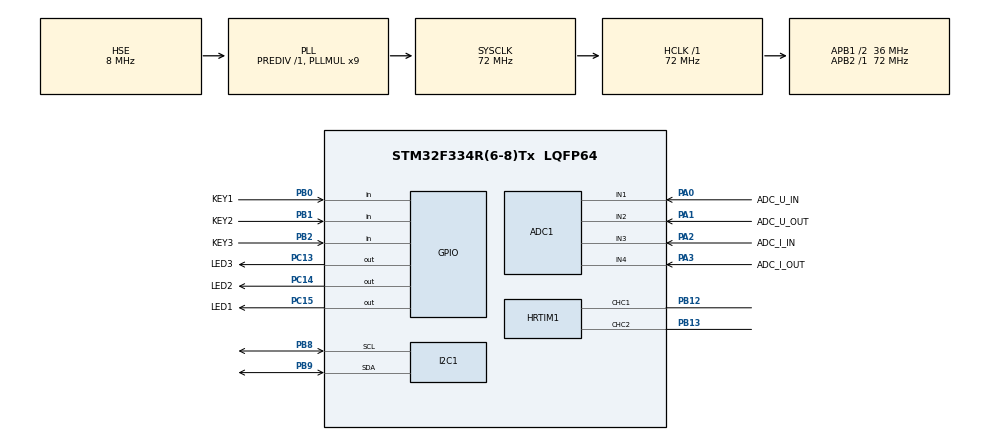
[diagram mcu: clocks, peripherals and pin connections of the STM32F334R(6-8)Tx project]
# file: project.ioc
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ADC1.Channel-3\#ChannelRegularConversion=ADC_CHANNEL_1
ADC1.Channel-4\#ChannelRegularConversion=ADC_CHANNEL_2
ADC1.Channel-5\#ChannelRegularConversion=ADC_CHANNEL_3
ADC1.Channel-6\#ChannelRegularConversion=ADC_CHANNEL_4
ADC1.ClockPrescaler=ADC_CLOCK_SYNC_PCLK_DIV4
ADC1.ContinuousConvMode=DISABLE
ADC1.DMAContinuousRequests=ENABLE
ADC1.DiscontinuousConvMode=DISABLE
ADC1.EOCSelection=ADC_EOC_SEQ_CONV
ADC1.ExternalTrigConv=ADC_EXTERNALTRIGCONVHRTIM_TRG1
ADC1.NbrOfConversion=4
ADC1.NbrOfConversionFlag=1
ADC1.Offset-3\#ChannelRegularConversion=0
ADC1.Offset-4\#ChannelRegularConversion=0
ADC1.Offset-5\#ChannelRegularConversion=0
ADC1.Offset-6\#ChannelRegularConversion=0
ADC1.OffsetNumber-3\#ChannelRegularConversion=ADC_OFFSET_NONE
ADC1.OffsetNumber-4\#ChannelRegularConversion=ADC_OFFSET_NONE
ADC1.OffsetNumber-5\#ChannelRegularConversion=ADC_OFFSET_NONE
ADC1.OffsetNumber-6\#ChannelRegularConversion=ADC_OFFSET_NONE
ADC1.Rank-3\#ChannelRegularConversion=1
ADC1.Rank-4\#ChannelRegularConversion=2
ADC1.Rank-5\#ChannelRegularConversion=3
ADC1.Rank-6\#ChannelRegularConversion=4
ADC1.SamplingTime-3\#ChannelRegularConversion=ADC_SAMPLETIME_7CYCLES_5
ADC1.SamplingTime-4\#ChannelRegularConversion=ADC_SAMPLETIME_7CYCLES_5
ADC1.SamplingTime-5\#ChannelRegularConversion=ADC_SAMPLETIME_7CYCLES_5
ADC1.SamplingTime-6\#ChannelRegularConversion=ADC_SAMPLETIME_7CYCLES_5
ADC1.SamplingTimeOPAMP-4\#ChannelRegularConversion=ADC_SAMPLETIME_7CYCLES_5
ADC1.SamplingTimeOPAMP-5\#ChannelRegularConversion=ADC_SAMPLETIME_7CYCLES_5
ADC1.SamplingTimeOPAMP-6\#ChannelRegularConversion=ADC_SAMPLETIME_7CYCLES_5
ADC1.SubFamily=STM32F334x8
ADC1.master=1
Dma.ADC1.0.Direction=DMA_PERIPH_TO_MEMORY
Dma.ADC1.0.Instance=DMA1_Channel1
Dma.ADC1.0.MemDataAlignment=DMA_MDATAALIGN_HALFWORD
Dma.ADC1.0.MemInc=DMA_MINC_ENABLE
Dma.ADC1.0.Mode=DMA_CIRCULAR
Dma.ADC1.0.PeriphDataAlignment=DMA_PDATAALIGN_HALFWORD
Dma.ADC1.0.PeriphInc=DMA_PINC_DISABLE
Dma.ADC1.0.Priority=DMA_PRIORITY_LOW
Dma.Request0=ADC1
HRTIM1.ADCTrigger1_Source1=HRTIM_ADCTRIGGEREVENT13_TIMERC_PERIOD
HRTIM1.ADCTrigger_Id1=HRTIM_ADCTRIGGER_1
HRTIM1.CompareUnit1-Output_TC1TC2=HRTIM_COMPAREUNIT_1
HRTIM1.CompareUnit2-Output_TC1TC2=HRTIM_COMPAREUNIT_2
HRTIM1.CompareUnit3-Output_TC1TC2=HRTIM_COMPAREUNIT_3
HRTIM1.CompareValue1-Output_TC1TC2=18800
HRTIM1.CompareValue2-Output_TC1TC2=38800
HRTIM1.CompareValue3-Output_TC1TC2=28800
HRTIM1.DeadTimeInsertion-Output_TC1TC2=HRTIM_TIMDEADTIMEINSERTION_ENABLED
HRTIM1.FallingValue-Output_TC1TC2=20
HRTIM1.InterruptRequests1-Output_TC1TC2=HRTIM_TIM_IT_REP
HRTIM1.NumberADCTriggerSource1=1
HRTIM1.NumberInterruptRequests-Output_TC1TC2=1
HRTIM1.NumberInterruptRequests_Master-MasterTimer=1
HRTIM1.NumberResetSource1-Output_TC1TC2=1
HRTIM1.NumberResetTrigger-Output_TC1TC2=0
HRTIM1.NumberSetSource1-Output_TC1TC2=1
HRTIM1.ORingUpdateSource_ADCTrigger1=HRTIM_ADCTRIGGERUPDATE_TIMER_C
HRTIM1.Periode_MASTER=65503
HRTIM1.Periode_TC=57600
HRTIM1.Polarity1-Output_TC1TC2=HRTIM_OUTPUTPOLARITY_HIGH
HRTIM1.Polarity2-Output_TC1TC2=HRTIM_OUTPUTPOLARITY_HIGH
HRTIM1.PreloadEnable-MasterTimer=HRTIM_PRELOAD_ENABLED
HRTIM1.PreloadEnable-Output_TC1TC2=HRTIM_PRELOAD_ENABLED
HRTIM1.PrescalerDead-Output_TC1TC2=HRTIM_TIMDEADTIME_PRESCALERRATIO_DIV1
HRTIM1.PrescalerRatio_MASTER=HRTIM_PRESCALERRATIO_MUL32
HRTIM1.PrescalerRatio_TC=HRTIM_PRESCALERRATIO_MUL8
HRTIM1.RepetitionUpdate-MasterTimer=HRTIM_UPDATEONREPETITION_ENABLED
HRTIM1.RepetitionUpdate-Output_TC1TC2=HRTIM_UPDATEONREPETITION_ENABLED
HRTIM1.ResetOutput1_Source1-Output_TC1TC2=HRTIM_OUTPUTRESET_TIMCMP2
HRTIM1.RisingValue-Output_TC1TC2=20
HRTIM1.SetOutput1_Source1-Output_TC1TC2=HRTIM_OUTPUTSET_TIMCMP1
Mcu.Family=STM32F3
Mcu.Name=STM32F334R(6-8)Tx
Mcu.Package=LQFP64
NVIC.DMA1_Channel1_IRQn=true\:0\:0\:false\:false\:true\:false\:true\:true
NVIC.HRTIM1_TIMC_IRQn=true\:1\:0\:true\:false\:true\:true\:true\:true
NVIC.PriorityGroup=NVIC_PRIORITYGROUP_4
PA0.GPIO_Label=ADC_U_IN
PA0.Mode=IN1-Single-Ended
PA0.Signal=ADC1_IN1
PA1.GPIO_Label=ADC_U_OUT
PA1.Mode=IN2-Single-Ended
PA1.Signal=ADC1_IN2
PA2.GPIO_Label=ADC_I_IN
PA2.Mode=IN3-Single-Ended
PA2.Signal=ADC1_IN3
PA3.GPIO_Label=ADC_I_OUT
PA3.Mode=IN4-Single-Ended
PA3.Signal=ADC1_IN4
PB0.GPIO_Label=KEY1
PB0.GPIO_PuPd=GPIO_PULLUP
PB0.Signal=GPIO_Input
PB1.GPIO_Label=KEY2
PB1.GPIO_PuPd=GPIO_PULLUP
PB1.Signal=GPIO_Input
PB12.Mode=Output_TC1TC2
PB12.Signal=HRTIM1_CHC1
PB13.Mode=Output_TC1TC2
PB13.Signal=HRTIM1_CHC2
PB2.GPIO_Label=KEY3
PB2.GPIO_PuPd=GPIO_PULLUP
PB2.Signal=GPIO_Input
PB8.Mode=I2C
PB8.Signal=I2C1_SCL
PB9.Mode=I2C
PB9.Signal=I2C1_SDA
PC13.GPIO_Label=LED3
PC13.Signal=GPIO_Output
PC14\ /\ OSC32_IN.GPIO_Label=LED2
PC14\ /\ OSC32_IN.Signal=GPIO_Output
PC15\ /\ OSC32_OUT.GPIO_Label=LED1
PC15\ /\ OSC32_OUT.Signal=GPIO_Output
PF0\ /\ OSC_IN.Mode=HSE-External-Oscillator
PF0\ /\ OSC_IN.Signal=RCC_OSC_IN
PF1\ /\ OSC_OUT.Mode=HSE-External-Oscillator
PF1\ /\ OSC_OUT.Signal=RCC_OSC_OUT
ProjectManager.HeapSize=0x200
ProjectManager.StackSize=0x400
ProjectManager.TargetToolchain=MDK-ARM V5
RCC.AHBFreq_Value=72000000
RCC.APB1CLKDivider=RCC_HCLK_DIV2
RCC.APB1Freq_Value=36000000
RCC.APB1TimFreq_Value=72000000
RCC.APB2Freq_Value=72000000
RCC.APB2TimFreq_Value=72000000
RCC.CortexFreq_Value=72000000
RCC.HCLKFreq_Value=72000000
RCC.HRTIMSelection=RCC_HRTIM1CLK_PLLCLK
RCC.HSE_VALUE=8000000
RCC.HSI_VALUE=8000000
RCC.LSE_VALUE=32768
RCC.PLLMUL=RCC_PLL_MUL9
RCC.PLLSourceVirtual=RCC_PLLSOURCE_HSE
RCC.SYSCLKFreq_VALUE=72000000
RCC.SYSCLKSourceVirtual=RCC_SYSCLKSOURCE_PLLCLK
VP_HRTIM1_VS_hrtimMasterTimerNoOutput.Mode=MasterTimer
board=custom

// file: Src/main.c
/* USER CODE BEGIN Header */
/**
 ******************************************************************************
 * @file           : main.c
 * @brief          : Main program body
 ******************************************************************************
 * @attention
 *
 * Copyright (c) 2024 STMicroelectronics.
 * All rights reserved.
 *
 * This software is licensed under terms that can be found in the LICENSE file
 * in the root directory of this software component.
 * If no LICENSE file comes with this software, it is provided AS-IS.
 *
 ******************************************************************************
 */
/* USER CODE END Header */
#include "main.h"
#include "adc.h"
#include "dma.h"
#include "hrtim.h"
#include "i2c.h"
#include "gpio.h"

/* USER CODE BEGIN Includes */
#include "myself_Oled.h"
#include "myself_pid.h"
#include "myself_spll_sogi.h"
#include "myself_droop_control.h"
/* USER CODE END Includes */

/* USER CODE BEGIN PD */
#define STEP        400.f
#define PI          3.14159265358979323846f

// hrtim
#define MEDIAN      28800.f
#define AMPLITUDE   28800.f
/* USER CODE END PD */

/* USER CODE BEGIN PV */

float Vref_Peak = 20;
float Iref_Peak = 0.2/0.6;
float Vref = 0;
float Iref = 0;
float Wref = 2*PI/STEP;

float Theta = 0;
float Modulating_Wave = 0;

uint16_t Adc1_Vlaue[4] = {0};
float U_In_Normal   = 0;
float U_Out_Normal  = 0;
float I_In_Normal   = 0;
float I_Out_Normal  = 0;

float U_In  = 30;
float U_Out = 0;
// float I_In  = 0;
// float I_Out = 0;

PidPosition Pid_V;
PidPosition Pid_I;

SinglePhase Sample_I;
SinglePhase Sample_U;
SinglePhasePower Power_Out;
DroopControl Droop;

Pll Pll_U;
uint8_t Pll_Flag = 0;

float Monito = 0;
/* USER CODE END PV */

void SystemClock_Config(void);
/* USER CODE BEGIN PFP */
void HAL_HRTIM_RepetitionEventCallback(HRTIM_HandleTypeDef * hhrtim, uint32_t TimerIdx)
{
  if ((hhrtim == &hhrtim1)&&(TimerIdx == HRTIM_TIMERINDEX_TIMER_C))
  {
    // // open loop
    // Modulating_Wave = 0.95f * sinf(Theta);

    if (Pll_Flag)
    {
      // voltage loop
      Vref = (Vref_Peak/U_In) * sinf(Theta);
      Droop.out_theta = Theta;
    }
    else
    {
      // droop
      Droop.amplitude = Vref_Peak/U_In;
      Vref = Droop_Control_Run(&Droop, Power_Out.power_pq);
    }
    Pid_V.set_value = Vref;

    Iref = PID_Position_Run(&Pid_V, U_Out_Normal);
    Iref = Limit_Value(Iref, 0.5, -0.5);

    // current loop
    // Iref = Iref_Peak * sinf(Theta);
    Pid_I.set_value = Iref;
    Modulating_Wave = PID_Position_Run(&Pid_I, I_Out_Normal);

    // feedforward
    Modulating_Wave += U_Out_Normal;
    Modulating_Wave = Limit_Value(Modulating_Wave, 0.95, -0.95);

    // pwm
    int PWM_compare1 = MEDIAN - AMPLITUDE*(1 + Modulating_Wave)/2;
    int PWM_compare2 = MEDIAN + AMPLITUDE*(1 + Modulating_Wave)/2;
    __HAL_HRTIM_SETCOMPARE(&hhrtim1, 0x2, HRTIM_COMPAREUNIT_1, PWM_compare1);
    __HAL_HRTIM_SETCOMPARE(&hhrtim1, 0x2, HRTIM_COMPAREUNIT_2, PWM_compare2);

    // Theta += Wref;
    // Theta = fmod(Theta, 2*PI);
  }
}

void HAL_ADC_ConvCpltCallback(ADC_HandleTypeDef* hadc)
{
  if (hadc == &hadc1)
  {
    // normalization
    U_In_Normal  = ((float)Adc1_Vlaue[0]/4096.f);
    U_Out_Normal = ((float)Adc1_Vlaue[1]-2048.f)/2048.f;
    I_In_Normal  = ((float)Adc1_Vlaue[2]-2048.f)/2048.f;
    I_Out_Normal = ((float)Adc1_Vlaue[3]-2048.f)/2048.f;

    U_In = U_In_Normal *3.3f * 30.f;
    U_Out = U_Out_Normal*1.65f*30;
    // I_in  = (I_In_Normal *1.65f)/0.132f;
    // I_Out = (I_Out_Normal*1.65f)/0.132f;

    Sample_U.value = U_Out_Normal;
    Sample_I.value = I_Out_Normal;

    Single_Phase_Calculated_Power(&Power_Out, Sample_U, Sample_I);

    if (Pll_Flag)
    {
      PLL_Run(&Pll_U, Power_Out.sogi_u.clarke, Wref);
      Theta = Pll_U.lock_theta;
    }
  }
}

/* USER CODE END PFP */

int main(void)
{

  /* MCU Configuration--------------------------------------------------------*/

  /* Reset of all peripherals, Initializes the Flash interface and the Systick. */
  HAL_Init();

  /* Configure the system clock */
  SystemClock_Config();

  /* Initialize all configured peripherals */
  MX_GPIO_Init();
  MX_DMA_Init();
  MX_I2C1_Init();
  MX_ADC1_Init();
  MX_HRTIM1_Init();
  /* USER CODE BEGIN 2 */
  HAL_Delay(500);
  // oled
  WS_OLED_Init();

  // pid
  PID_Position_Init(&Pid_V, Vref, 1, 0.005, 0);
  PID_Position_Init(&Pid_I, Iref, 1, 0, 0);

  // power
  Single_Phase_Power_Init(&Power_Out);
  Sample_U.w = Wref;
  Sample_I.w = Wref;

  // pll
  PLL_Init(&Pll_U);

  // droop
  Droop_Control_Init(&Droop);

  // adc
  HAL_ADCEx_Calibration_Start(&hadc1, 0xffffffff);
  HAL_ADC_Start_DMA(&hadc1, (uint32_t *)Adc1_Vlaue, 4);

  // pwm
  HAL_HRTIM_WaveformCountStart_IT(&hhrtim1, HRTIM_TIMERID_TIMER_C);
  HAL_HRTIM_WaveformCountStart(&hhrtim1, HRTIM_TIMERID_TIMER_C);

  HAL_Delay(100);
  for (uint32_t i = 0xffffff; i; i--)
  {
    if((U_Out > 3)||(U_Out < 3))
    {
      Pll_Flag = 1;
      break;
    }
  }
  if (Pll_Flag)
  {
    HAL_Delay(500);
    Pll_Flag = 0;
  }
  HAL_HRTIM_WaveformOutputStart(&hhrtim1, HRTIM_OUTPUT_TC1 | HRTIM_OUTPUT_TC2);

  /* USER CODE END 2 */

  /* Infinite loop */
  /* USER CODE BEGIN WHILE */
  while (1)
  {
    WS_OLED_Printf(1, 1, 0, "U_In  = %.2f", U_In);
    WS_OLED_Printf(1, 2, 0, "P     = %f", Power_Out.power_pq.p);
    WS_OLED_Printf(1, 3, 0, "Q     = %f", Power_Out.power_pq.q);
    // WS_OLED_Printf(1, 4, 0, "I_Out = %.2f", (I_Out_Normal*1.65f)/0.132f);
    WS_OLED_Printf(1, 5, 0, "q     = %f", Pll_U.park.q);
    // WS_OLED_Printf(1, 6, 0, "Iref  = %.2f", Iref);
    // WS_OLED_Printf(1, 7, 0, "Monito= %.2f", Monito);
    /* USER CODE END WHILE */

  }
}

void SystemClock_Config(void)
{
  RCC_OscInitTypeDef RCC_OscInitStruct = {0};
  RCC_ClkInitTypeDef RCC_ClkInitStruct = {0};
  RCC_PeriphCLKInitTypeDef PeriphClkInit = {0};

  /** Initializes the RCC Oscillators according to the specified parameters
  * in the RCC_OscInitTypeDef structure.
  */
  RCC_OscInitStruct.OscillatorType = RCC_OSCILLATORTYPE_HSI|RCC_OSCILLATORTYPE_HSE;
  RCC_OscInitStruct.HSEState = RCC_HSE_ON;
  RCC_OscInitStruct.HSEPredivValue = RCC_HSE_PREDIV_DIV1;
  RCC_OscInitStruct.HSIState = RCC_HSI_ON;
  RCC_OscInitStruct.HSICalibrationValue = RCC_HSICALIBRATION_DEFAULT;
  RCC_OscInitStruct.PLL.PLLState = RCC_PLL_ON;
  RCC_OscInitStruct.PLL.PLLSource = RCC_PLLSOURCE_HSE;
  RCC_OscInitStruct.PLL.PLLMUL = RCC_PLL_MUL9;
  if (HAL_RCC_OscConfig(&RCC_OscInitStruct) != HAL_OK)
  {
    Error_Handler();
  }

  /** Initializes the CPU, AHB and APB buses clocks
  */
  RCC_ClkInitStruct.ClockType = RCC_CLOCKTYPE_HCLK|RCC_CLOCKTYPE_SYSCLK
                              |RCC_CLOCKTYPE_PCLK1|RCC_CLOCKTYPE_PCLK2;
  RCC_ClkInitStruct.SYSCLKSource = RCC_SYSCLKSOURCE_PLLCLK;
  RCC_ClkInitStruct.AHBCLKDivider = RCC_SYSCLK_DIV1;
  RCC_ClkInitStruct.APB1CLKDivider = RCC_HCLK_DIV2;
  RCC_ClkInitStruct.APB2CLKDivider = RCC_HCLK_DIV1;

  if (HAL_RCC_ClockConfig(&RCC_ClkInitStruct, FLASH_LATENCY_2) != HAL_OK)
  {
    Error_Handler();
  }
  PeriphClkInit.PeriphClockSelection = RCC_PERIPHCLK_HRTIM1|RCC_PERIPHCLK_I2C1;
  PeriphClkInit.I2c1ClockSelection = RCC_I2C1CLKSOURCE_HSI;
  PeriphClkInit.Hrtim1ClockSelection = RCC_HRTIM1CLK_PLLCLK;
  if (HAL_RCCEx_PeriphCLKConfig(&PeriphClkInit) != HAL_OK)
  {
    Error_Handler();
  }
}

void Error_Handler(void)
{
  __disable_irq();
  while (1)
  {
  }
}
